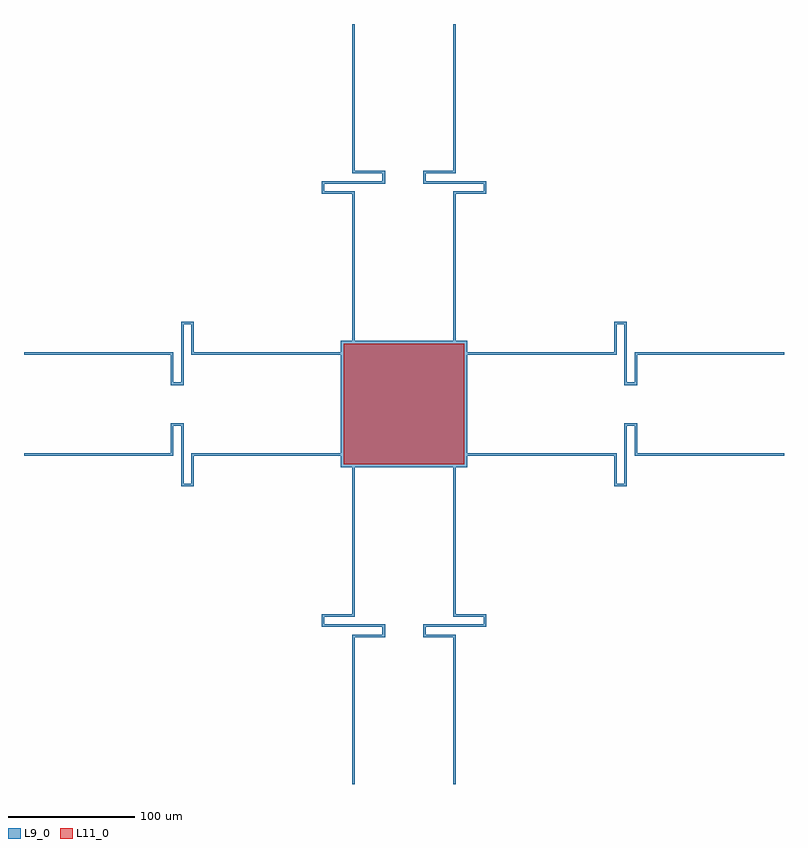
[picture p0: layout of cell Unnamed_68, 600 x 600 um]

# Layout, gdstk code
from math import pi, radians
import gdstk
lib = gdstk.Library(unit=1e-6, precision=1e-09)
def R(c, l, rs):  # rectangles x0, y0, x1, y1
    for r in rs: c.add(gdstk.rectangle(r[:2], r[2:], *l))
L9_0 = (9, 0)
L11_0 = (11, 0)

rectangle_s100_100_l9_0_ = lib.new_cell('rectangle_S100_100_L9_0_112211a6')
R(rectangle_s100_100_l9_0_, L9_0, [(0,0,100,100)])

rectangle_s50_2_l9_0_cf_ = lib.new_cell('rectangle_S50_2_L9_0_CF_7b202ac9')
R(rectangle_s50_2_l9_0_cf_, L9_0, [(0,0,50,2)])

rectangle_s2_6_l9_0_cfa_ = lib.new_cell('rectangle_S2_6_L9_0_CFa_6e69fcce')
R(rectangle_s2_6_l9_0_cfa_, L9_0, [(0,0,2,6)])

rectangle_s26_2_l9_0_cf_ = lib.new_cell('rectangle_S26_2_L9_0_CF_7241b5a4')
R(rectangle_s26_2_l9_0_cf_, L9_0, [(0,0,26,2)])

rectangle_s2_116_l9_0_c_ = lib.new_cell('rectangle_S2_116_L9_0_C_2d5fca50')
R(rectangle_s2_116_l9_0_c_, L9_0, [(0,0,2,116)])

unnamed_69 = lib.new_cell('Unnamed_69')
unnamed_69.add(gdstk.Reference(rectangle_s50_2_l9_0_cf_, (-24,124)))
unnamed_69.add(gdstk.Reference(rectangle_s2_6_l9_0_cfa_, (24,118)))
unnamed_69.add(gdstk.Reference(rectangle_s2_6_l9_0_cfa_, (-24,126)))
unnamed_69.add(gdstk.Reference(rectangle_s26_2_l9_0_cf_, (0,116)))
unnamed_69.add(gdstk.Reference(rectangle_s26_2_l9_0_cf_, (-24,132)))
unnamed_69.add(gdstk.Reference(rectangle_s2_116_l9_0_c_, (0,0)))
unnamed_69.add(gdstk.Reference(rectangle_s2_116_l9_0_c_, (0,134)))

unnamed_70 = lib.new_cell('Unnamed_70')
unnamed_70.add(gdstk.Reference(unnamed_69, (41,-300), rotation=pi, x_reflection=True))
unnamed_70.add(gdstk.Reference(unnamed_69, (-41,-300)))

rectangle_s95_95_l11_0__ = lib.new_cell('rectangle_S95_95_L11_0__3836f13c')
R(rectangle_s95_95_l11_0__, L11_0, [(0,0,95,95)])

unnamed_68 = lib.new_cell('Unnamed_68')
unnamed_68.add(gdstk.Reference(rectangle_s100_100_l9_0_, (-50,-50)))
unnamed_68.add(gdstk.Reference(unnamed_70, (0,0), x_reflection=True))
unnamed_68.add(gdstk.Reference(rectangle_s95_95_l11_0__, (-47.5,-47.5)))
unnamed_68.add(gdstk.Reference(unnamed_70, (0,0), rotation=pi/2))
unnamed_68.add(gdstk.Reference(unnamed_70, (0,0), rotation=3*pi/2))
unnamed_68.add(gdstk.Reference(unnamed_70, (0,0)))

lib.write_gds('Unnamed_68.gds')
